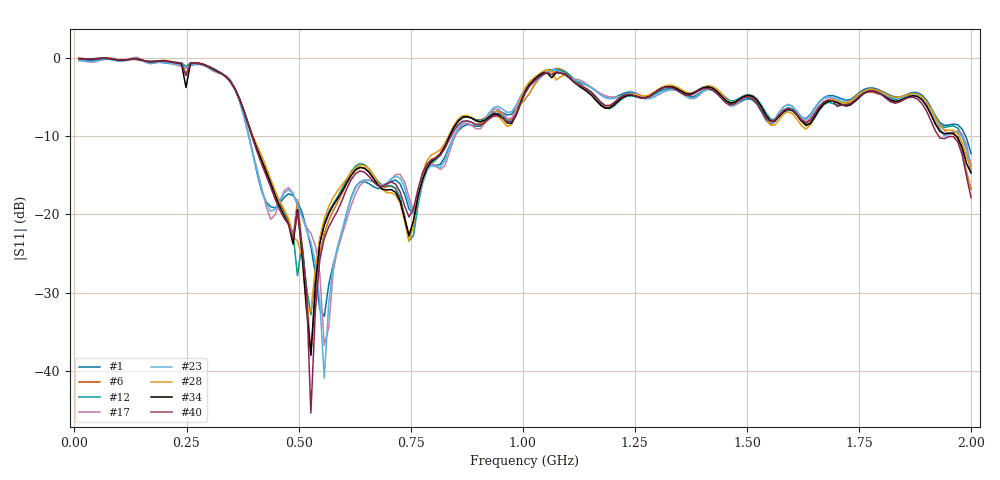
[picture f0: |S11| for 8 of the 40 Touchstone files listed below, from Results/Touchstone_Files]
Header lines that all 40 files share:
!Created with skrf (http://scikit-rf.org).
# Hz S RI R 50.0
!freq ReS11 ImS11
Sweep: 10 MHz to 2 GHz
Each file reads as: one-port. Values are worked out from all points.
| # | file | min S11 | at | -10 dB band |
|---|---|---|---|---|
| 1 | ANT1553H_P2.s1p | -33.0 dB | 557.2 MHz | 458.1 MHz wide |
| 2 | ANT1554H_P1.s1p | -38.8 dB | 527.4 MHz | 439.9 MHz wide |
| 3 | ANT1554H_P2.s1p | -40.7 dB | 557.2 MHz | 459.1 MHz wide |
| 4 | ANT1555H_P1.s1p | -43.1 dB | 527.4 MHz | 439.8 MHz wide |
| 5 | ANT1555H_P2.s1p | -38.1 dB | 527.4 MHz | 442.8 MHz wide |
| 6 | ANT1556H_P1.s1p | -38.0 dB | 527.4 MHz | 440 MHz wide |
| 7 | ANT1556H_P2.s1p | -39.4 dB | 557.2 MHz | 456.3 MHz wide |
| 8 | ANT1557H_P1.s1p | -37.1 dB | 527.4 MHz | 438.4 MHz wide |
| 9 | ANT1557H_P2.s1p | -31.3 dB | 557.2 MHz | 460.7 MHz wide |
| 10 | ANT1558H_P1.s1p | -46.4 dB | 527.4 MHz | 441 MHz wide |
| 11 | ANT1558H_P2.s1p | -33.0 dB | 557.2 MHz | 463 MHz wide |
| 12 | ANT1559H_P1.s1p | -32.8 dB | 527.4 MHz | 440.8 MHz wide |
| 13 | ANT1559H_P2.s1p | -32.4 dB | 557.2 MHz | 461.8 MHz wide |
| 14 | ANT1560H_P1.s1p | -44.3 dB | 527.4 MHz | 443.7 MHz wide |
| 15 | ANT1560H_P2.s1p | -48.8 dB | 557.2 MHz | 458.1 MHz wide |
| 16 | ANT1561H_P1.s1p | -39.7 dB | 527.4 MHz | 442.7 MHz wide |
| 17 | ANT1561H_P2.s1p | -36.7 dB | 557.2 MHz | 460.7 MHz wide |
| 18 | ANT1562H_P1.s1p | -38.2 dB | 527.4 MHz | 439 MHz wide |
| 19 | ANT1562H_P2.s1p | -32.3 dB | 557.2 MHz | 465.3 MHz wide |
| 20 | ANT1563_P1.s1p | -35.5 dB | 527.4 MHz | 438.3 MHz wide |
| 21 | ANT1563_P2.s1p | -40.4 dB | 557.2 MHz | 454.5 MHz wide |
| 22 | ANT1564H_P1.s1p | -39.9 dB | 527.4 MHz | 436.1 MHz wide |
| 23 | ANT1564H_P2.s1p | -40.9 dB | 557.2 MHz | 457.4 MHz wide |
| 24 | ANT1565H_P1.s1p | -43.8 dB | 527.4 MHz | 438.7 MHz wide |
| 25 | ANT1565H_P2.s1p | -37.2 dB | 567.2 MHz | 463.8 MHz wide |
| 26 | ANT1566H_P1.s1p | -56.7 dB | 527.4 MHz | 441.3 MHz wide |
| 27 | ANT1566H_P2.s1p | -34.6 dB | 557.2 MHz | 462.5 MHz wide |
| 28 | ANT1567_P1.s1p | -32.4 dB | 527.4 MHz | 436 MHz wide |
| 29 | ANT1567_P2.s1p | -37.4 dB | 557.2 MHz | 460.9 MHz wide |
| 30 | ANT1568H_P1.s1p | -40.8 dB | 527.4 MHz | 439.5 MHz wide |
| 31 | ANT1568H_P2.s1p | -41.1 dB | 557.2 MHz | 459 MHz wide |
| 32 | ANT1569H_P1.s1p | -30.9 dB | 517.5 MHz | 406.9 MHz wide |
| 33 | ANT1569H_P2.s1p | -39.0 dB | 557.2 MHz | 458.2 MHz wide |
| 34 | ANT1570H_P1.s1p | -38.0 dB | 527.4 MHz | 439.7 MHz wide |
| 35 | ANT1570H_P2.s1p | -32.2 dB | 567.2 MHz | 472.3 MHz wide |
| 36 | ANT1571H_P1.s1p | -34.0 dB | 527.4 MHz | 436.8 MHz wide |
| 37 | ANT1571H_P2.s1p | -36.9 dB | 547.3 MHz | 461.3 MHz wide |
| 38 | ANT1572H_P1.s1p | -46.0 dB | 527.4 MHz | 433.2 MHz wide |
| 39 | ANT1572H_P2.s1p | -36.1 dB | 557.2 MHz | 460.4 MHz wide |
| 40 | ANT1573H_P1.s1p | -45.4 dB | 527.4 MHz | 443.8 MHz wide |
